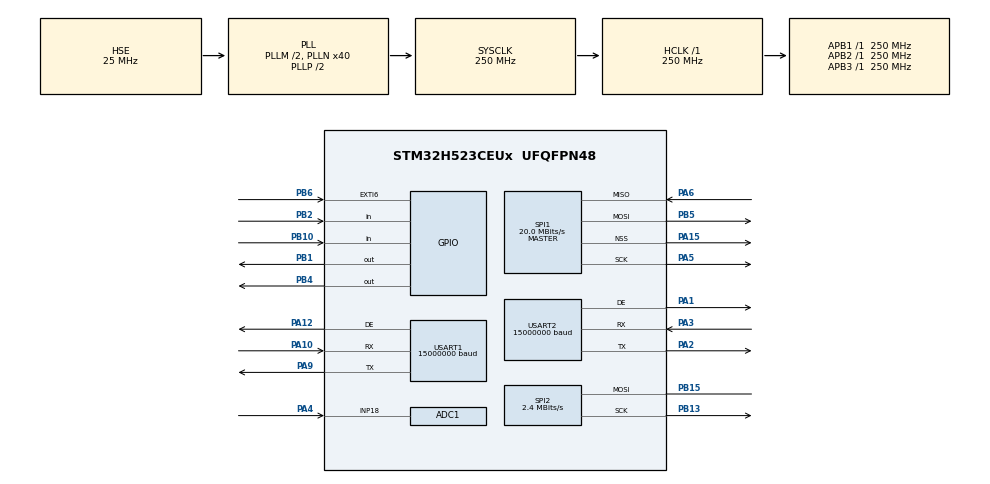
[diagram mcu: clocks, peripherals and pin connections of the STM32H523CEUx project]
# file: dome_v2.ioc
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ADC1.Channel-5\#ChannelRegularConversion=ADC_CHANNEL_18
ADC1.MonitoredBy-5\#ChannelRegularConversion=__NULL
ADC1.NbrOfConversionFlag=1
ADC1.OffsetNumber-5\#ChannelRegularConversion=ADC_OFFSET_NONE
ADC1.Rank-5\#ChannelRegularConversion=1
ADC1.SamplingTime-5\#ChannelRegularConversion=ADC_SAMPLETIME_2CYCLES_5
ADC1.master=1
BOOTPATH.BootPathName=LEGACY
BOOTPATH.UserSelectedBootPath=LEGACY
CORTEX_M33_NS.userName=CORTEX_M33
Mcu.Family=STM32H5
Mcu.Name=STM32H523CEUx
Mcu.Package=UFQFPN48
NVIC.PriorityGroup=NVIC_PRIORITYGROUP_4
PA1.Mode=Hardware Flow Control (RS485)
PA1.Signal=USART2_DE
PA10.Mode=Asynchronous
PA10.Signal=USART1_RX
PA12.Mode=Hardware Flow Control (RS485)
PA12.Signal=USART1_DE
PA13(JTMS/SWDIO).Mode=Trace_Asynchronous_SW
PA13(JTMS/SWDIO).Signal=DEBUG_JTMS-SWDIO
PA14(JTCK/SWCLK).Mode=Trace_Asynchronous_SW
PA14(JTCK/SWCLK).Signal=DEBUG_JTCK-SWCLK
PA15(JTDI).Mode=NSS_Signal_Hard_Output
PA15(JTDI).Signal=SPI1_NSS
PA2.Mode=Asynchronous
PA2.Signal=USART2_TX
PA3.Mode=Asynchronous
PA3.Signal=USART2_RX
PA4.Signal=ADCx_INP18
PA5.Mode=Full_Duplex_Master
PA5.Signal=SPI1_SCK
PA6.Mode=Full_Duplex_Master
PA6.Signal=SPI1_MISO
PA9.Mode=Asynchronous
PA9.Signal=USART1_TX
PB1.Signal=GPIO_Output
PB10.Signal=GPIO_Input
PB13.Mode=Simplex_Bidirectional_Master
PB13.Signal=SPI2_SCK
PB15.Mode=Simplex_Bidirectional_Master
PB15.Signal=SPI2_MOSI
PB2.Signal=GPIO_Input
PB3(JTDO/TRACESWO).Mode=Trace_Asynchronous_SW
PB3(JTDO/TRACESWO).Signal=DEBUG_JTDO-SWO
PB4(NJTRST).Signal=GPIO_Output
PB5.Mode=Full_Duplex_Master
PB5.Signal=SPI1_MOSI
PB6.Signal=GPXTI6
PH0-OSC_IN(PH0).Mode=HSE-External-Clock-Source
PH0-OSC_IN(PH0).Signal=RCC_OSC_IN
ProjectManager.HeapSize=0x200
ProjectManager.StackSize=0x400
ProjectManager.TargetToolchain=STM32CubeIDE
RCC.ADCFreq_Value=250000000
RCC.AHBFreq_Value=250000000
RCC.APB1Freq_Value=250000000
RCC.APB1TimFreq_Value=250000000
RCC.APB2Freq_Value=250000000
RCC.APB2TimFreq_Value=250000000
RCC.APB3Freq_Value=250000000
RCC.CSI_VALUE=4000000
RCC.CortexFreq_Value=250000000
RCC.EPOD_VALUE=25000000
RCC.HCLKFreq_Value=250000000
RCC.HSE_VALUE=25000000
RCC.HSI48_VALUE=48000000
RCC.HSIDiv=RCC_HSI_DIV1
RCC.HSI_VALUE=64000000
RCC.LSE_VALUE=32768
RCC.LSIRC_VALUE=32000
RCC.PLL1Q=3
RCC.PLL2N=40
RCC.PLL2P=4
RCC.PLL2Q=8
RCC.PLL3N=48
RCC.PLL3P=40
RCC.PLLFRACN=0
RCC.PLLM=2
RCC.PLLN=40
RCC.PLLSourceVirtual=RCC_PLL1_SOURCE_HSE
RCC.SPI1CLockSelection=RCC_SPI1CLKSOURCE_PLL2P
RCC.SPI2CLockSelection=RCC_SPI2CLKSOURCE_PLL3P
RCC.SYSCLKFreq_VALUE=250000000
RCC.SYSCLKSource=RCC_SYSCLKSOURCE_PLLCLK
RCC.USBFreq_Value=48000000
RCC.VCOOutputFreq_Value=500000000
SH.ADCx_INP18.0=ADC1_INP18,IN18-Single-Ended
SPI1.CalculateBaudRate=20.0 MBits/s
SPI1.DataSize=SPI_DATASIZE_8BIT
SPI1.Direction=SPI_DIRECTION_2LINES
SPI1.Mode=SPI_MODE_MASTER
SPI1.VirtualNSS=VM_NSSHARD
SPI1.VirtualType=VM_MASTER
SPI2.CalculateBaudRate=2.4 MBits/s
SPI2.DataSize=SPI_DATASIZE_8BIT
SPI2.Direction=SPI_DIRECTION_1LINE
SPI2.Mode=SPI_MODE_MASTER
SPI2.VirtualType=VM_MASTER
USART1.BaudRate=15000000
USART1.OverSampling=UART_OVERSAMPLING_16
USART1.VirtualMode-Asynchronous=VM_ASYNC
USART1.VirtualMode-Hardware\ Flow\ Control\ (RS485)=VM_ASYNC
USART2.BaudRate=15000000
USART2.VirtualMode-Asynchronous=VM_ASYNC
USART2.VirtualMode-Hardware\ Flow\ Control\ (RS485)=VM_ASYNC
VP_BOOTPATH_VS_BOOTPATH.Mode=BP_Activate
VP_CORTEX_M33_NS_VS_Hclk.Mode=Hclk_Mode
VP_MEMORYMAP_VS_MEMORYMAP.Mode=CurAppReg
VP_PWR_VS_LPOM.Mode=PowerOptimisation
VP_PWR_VS_SECSignals.Mode=Security/Privilege
board=custom

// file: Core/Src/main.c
/* USER CODE BEGIN Header */
/**
  ******************************************************************************
  * @file           : main.c
  * @brief          : Main program body
  ******************************************************************************
  * @attention
  *
  * Copyright (c) 2026 STMicroelectronics.
  * All rights reserved.
  *
  * This software is licensed under terms that can be found in the LICENSE file
  * in the root directory of this software component.
  * If no LICENSE file comes with this software, it is provided AS-IS.
  *
  ******************************************************************************
  */
/* USER CODE END Header */
#include "main.h"

/* USER CODE BEGIN Includes */
#include "ws2812b.h"
#include "tmf8829.h"
#include <stdio.h>
/* USER CODE END Includes */

ADC_HandleTypeDef hadc1;

SPI_HandleTypeDef hspi1;
SPI_HandleTypeDef hspi2;

UART_HandleTypeDef huart1;
UART_HandleTypeDef huart2;

/* USER CODE BEGIN PV */
volatile int      g_init_ret;       // TMF8829_Init result
volatile int      g_cfg_ret;        // TMF8829_Configure result
volatile int      g_poll_ret;       // last TMF8829_Poll return
volatile uint32_t g_frame_count;    // frames received
volatile uint32_t g_last_frame_size;
/* USER CODE END PV */

void SystemClock_Config(void);
static void MX_GPIO_Init(void);
static void MX_SPI1_Init(void);
static void MX_USART1_UART_Init(void);
static void MX_USART2_UART_Init(void);
static void MX_ADC1_Init(void);
static void MX_SPI2_Init(void);

int main(void)
{

  /* MCU Configuration--------------------------------------------------------*/

  /* Reset of all peripherals, Initializes the Flash interface and the Systick. */
  HAL_Init();

  /* Configure the system clock */
  SystemClock_Config();

  /* Initialize all configured peripherals */
  MX_GPIO_Init();
  MX_SPI1_Init();
  MX_USART1_UART_Init();
  MX_USART2_UART_Init();
  MX_ADC1_Init();
  MX_SPI2_Init();
  /* USER CODE BEGIN 2 */
  // Enable ITM for SWD output (Window → Show View → SWV ITM Data Console, channel 0)
  CoreDebug->DEMCR |= CoreDebug_DEMCR_TRCENA_Msk;
  ITM->LAR  = 0xC5ACCE55;
  ITM->TCR  = 0x00010005;
  ITM->TER  = 0x01;

  TMF8829_DMA_Init();          // GPDMA1 channels for SPI1 (bulk frame reads)

  g_init_ret = TMF8829_Init();
  if (g_init_ret != 0) Error_Handler();

  g_cfg_ret = TMF8829_Configure_48x32_15fps();
  if (g_cfg_ret != 0) Error_Handler();

  TMF8829_EXTI_Init();         // PB6 INT (falling-edge) drives frame reads
  /* USER CODE END 2 */

  /* Infinite loop */
  /* USER CODE BEGIN WHILE */
  while (1)
  {
    // The TMF8829 INT line is level-active (held low while a result waits).
    // The PB6 falling-edge EXTI gives a prompt wake-up, but if a new frame
    // asserts INT before the line returns high from clearing the previous one
    // the high->low transition never happens and the edge is missed.  So we
    // service whenever the INT level is low OR an edge was latched, and drain
    // every pending frame.  The level check makes a permanent miss impossible.
    tmf8829_loop_iters++;
    if (tmf8829_frame_pending ||
        HAL_GPIO_ReadPin(GPIOB, GPIO_PIN_6) == GPIO_PIN_RESET) {
        tmf8829_frame_pending = 0;
        do {
            g_poll_ret = TMF8829_ReadFrame();
            if (g_poll_ret == 1) g_frame_count++;
        } while (g_poll_ret == 1);
    }
    /* USER CODE END WHILE */

  }
}

void SystemClock_Config(void)
{
  RCC_OscInitTypeDef RCC_OscInitStruct = {0};
  RCC_ClkInitTypeDef RCC_ClkInitStruct = {0};

  /** Configure the main internal regulator output voltage
  */
  __HAL_PWR_VOLTAGESCALING_CONFIG(PWR_REGULATOR_VOLTAGE_SCALE0);

  while(!__HAL_PWR_GET_FLAG(PWR_FLAG_VOSRDY)) {}

  /** Initializes the RCC Oscillators according to the specified parameters
  * in the RCC_OscInitTypeDef structure.
  */
  RCC_OscInitStruct.OscillatorType = RCC_OSCILLATORTYPE_HSE|RCC_OSCILLATORTYPE_CSI;
  RCC_OscInitStruct.HSEState = RCC_HSE_BYPASS;
  RCC_OscInitStruct.CSIState = RCC_CSI_ON;
  RCC_OscInitStruct.CSICalibrationValue = RCC_CSICALIBRATION_DEFAULT;
  RCC_OscInitStruct.PLL.PLLState = RCC_PLL_ON;
  RCC_OscInitStruct.PLL.PLLSource = RCC_PLL1_SOURCE_HSE;
  RCC_OscInitStruct.PLL.PLLM = 2;
  RCC_OscInitStruct.PLL.PLLN = 40;
  RCC_OscInitStruct.PLL.PLLP = 2;
  RCC_OscInitStruct.PLL.PLLQ = 3;
  RCC_OscInitStruct.PLL.PLLR = 2;
  RCC_OscInitStruct.PLL.PLLRGE = RCC_PLL1_VCIRANGE_3;
  RCC_OscInitStruct.PLL.PLLVCOSEL = RCC_PLL1_VCORANGE_WIDE;
  RCC_OscInitStruct.PLL.PLLFRACN = 0;
  if (HAL_RCC_OscConfig(&RCC_OscInitStruct) != HAL_OK)
  {
    Error_Handler();
  }

  /** Initializes the CPU, AHB and APB buses clocks
  */
  RCC_ClkInitStruct.ClockType = RCC_CLOCKTYPE_HCLK|RCC_CLOCKTYPE_SYSCLK
                              |RCC_CLOCKTYPE_PCLK1|RCC_CLOCKTYPE_PCLK2
                              |RCC_CLOCKTYPE_PCLK3;
  RCC_ClkInitStruct.SYSCLKSource = RCC_SYSCLKSOURCE_PLLCLK;
  RCC_ClkInitStruct.AHBCLKDivider = RCC_SYSCLK_DIV1;
  RCC_ClkInitStruct.APB1CLKDivider = RCC_HCLK_DIV1;
  RCC_ClkInitStruct.APB2CLKDivider = RCC_HCLK_DIV1;
  RCC_ClkInitStruct.APB3CLKDivider = RCC_HCLK_DIV1;

  if (HAL_RCC_ClockConfig(&RCC_ClkInitStruct, FLASH_LATENCY_5) != HAL_OK)
  {
    Error_Handler();
  }

  /** Configure the programming delay
  */
  __HAL_FLASH_SET_PROGRAM_DELAY(FLASH_PROGRAMMING_DELAY_2);
}

static void MX_ADC1_Init(void)
{

  ADC_ChannelConfTypeDef sConfig = {0};

  /** Common config
  */
  hadc1.Instance = ADC1;
  hadc1.Init.ClockPrescaler = ADC_CLOCK_ASYNC_DIV4;
  hadc1.Init.Resolution = ADC_RESOLUTION_12B;
  hadc1.Init.DataAlign = ADC_DATAALIGN_RIGHT;
  hadc1.Init.ScanConvMode = ADC_SCAN_DISABLE;
  hadc1.Init.EOCSelection = ADC_EOC_SINGLE_CONV;
  hadc1.Init.LowPowerAutoWait = DISABLE;
  hadc1.Init.ContinuousConvMode = DISABLE;
  hadc1.Init.NbrOfConversion = 1;
  hadc1.Init.DiscontinuousConvMode = DISABLE;
  hadc1.Init.ExternalTrigConv = ADC_SOFTWARE_START;
  hadc1.Init.ExternalTrigConvEdge = ADC_EXTERNALTRIGCONVEDGE_NONE;
  hadc1.Init.DMAContinuousRequests = DISABLE;
  hadc1.Init.SamplingMode = ADC_SAMPLING_MODE_NORMAL;
  hadc1.Init.Overrun = ADC_OVR_DATA_PRESERVED;
  hadc1.Init.OversamplingMode = DISABLE;
  if (HAL_ADC_Init(&hadc1) != HAL_OK)
  {
    Error_Handler();
  }

  /** Configure Regular Channel
  */
  sConfig.Channel = ADC_CHANNEL_18;
  sConfig.Rank = ADC_REGULAR_RANK_1;
  sConfig.SamplingTime = ADC_SAMPLETIME_2CYCLES_5;
  sConfig.SingleDiff = ADC_SINGLE_ENDED;
  sConfig.OffsetNumber = ADC_OFFSET_NONE;
  sConfig.Offset = 0;
  if (HAL_ADC_ConfigChannel(&hadc1, &sConfig) != HAL_OK)
  {
    Error_Handler();
  }

}

static void MX_SPI1_Init(void)
{

  /* SPI1 parameter configuration*/
  hspi1.Instance = SPI1;
  hspi1.Init.Mode = SPI_MODE_MASTER;
  hspi1.Init.Direction = SPI_DIRECTION_2LINES;
  hspi1.Init.DataSize = SPI_DATASIZE_8BIT;
  hspi1.Init.CLKPolarity = SPI_POLARITY_LOW;
  hspi1.Init.CLKPhase = SPI_PHASE_1EDGE;
  hspi1.Init.NSS = SPI_NSS_HARD_OUTPUT;
  hspi1.Init.BaudRatePrescaler = SPI_BAUDRATEPRESCALER_2;
  hspi1.Init.FirstBit = SPI_FIRSTBIT_MSB;
  hspi1.Init.TIMode = SPI_TIMODE_DISABLE;
  hspi1.Init.CRCCalculation = SPI_CRCCALCULATION_DISABLE;
  hspi1.Init.CRCPolynomial = 0x7;
  hspi1.Init.NSSPMode = SPI_NSS_PULSE_ENABLE;
  hspi1.Init.NSSPolarity = SPI_NSS_POLARITY_LOW;
  hspi1.Init.FifoThreshold = SPI_FIFO_THRESHOLD_01DATA;
  hspi1.Init.MasterSSIdleness = SPI_MASTER_SS_IDLENESS_00CYCLE;
  hspi1.Init.MasterInterDataIdleness = SPI_MASTER_INTERDATA_IDLENESS_00CYCLE;
  hspi1.Init.MasterReceiverAutoSusp = SPI_MASTER_RX_AUTOSUSP_DISABLE;
  hspi1.Init.MasterKeepIOState = SPI_MASTER_KEEP_IO_STATE_DISABLE;
  hspi1.Init.IOSwap = SPI_IO_SWAP_DISABLE;
  hspi1.Init.ReadyMasterManagement = SPI_RDY_MASTER_MANAGEMENT_INTERNALLY;
  hspi1.Init.ReadyPolarity = SPI_RDY_POLARITY_HIGH;
  if (HAL_SPI_Init(&hspi1) != HAL_OK)
  {
    Error_Handler();
  }
  /* USER CODE BEGIN SPI1_Init 2 */
  hspi1.Init.NSSPMode = SPI_NSS_PULSE_DISABLE;
  hspi1.Init.MasterKeepIOState = SPI_MASTER_KEEP_IO_STATE_ENABLE;
  if (HAL_SPI_Init(&hspi1) != HAL_OK) Error_Handler();
  /* USER CODE END SPI1_Init 2 */

}

static void MX_SPI2_Init(void)
{

  /* SPI2 parameter configuration*/
  hspi2.Instance = SPI2;
  hspi2.Init.Mode = SPI_MODE_MASTER;
  hspi2.Init.Direction = SPI_DIRECTION_1LINE;
  hspi2.Init.DataSize = SPI_DATASIZE_8BIT;
  hspi2.Init.CLKPolarity = SPI_POLARITY_LOW;
  hspi2.Init.CLKPhase = SPI_PHASE_1EDGE;
  hspi2.Init.NSS = SPI_NSS_SOFT;
  hspi2.Init.BaudRatePrescaler = SPI_BAUDRATEPRESCALER_2;
  hspi2.Init.FirstBit = SPI_FIRSTBIT_MSB;
  hspi2.Init.TIMode = SPI_TIMODE_DISABLE;
  hspi2.Init.CRCCalculation = SPI_CRCCALCULATION_DISABLE;
  hspi2.Init.CRCPolynomial = 0x7;
  hspi2.Init.NSSPMode = SPI_NSS_PULSE_ENABLE;
  hspi2.Init.NSSPolarity = SPI_NSS_POLARITY_LOW;
  hspi2.Init.FifoThreshold = SPI_FIFO_THRESHOLD_01DATA;
  hspi2.Init.MasterSSIdleness = SPI_MASTER_SS_IDLENESS_00CYCLE;
  hspi2.Init.MasterInterDataIdleness = SPI_MASTER_INTERDATA_IDLENESS_00CYCLE;
  hspi2.Init.MasterReceiverAutoSusp = SPI_MASTER_RX_AUTOSUSP_DISABLE;
  hspi2.Init.MasterKeepIOState = SPI_MASTER_KEEP_IO_STATE_DISABLE;
  hspi2.Init.IOSwap = SPI_IO_SWAP_DISABLE;
  hspi2.Init.ReadyMasterManagement = SPI_RDY_MASTER_MANAGEMENT_INTERNALLY;
  hspi2.Init.ReadyPolarity = SPI_RDY_POLARITY_HIGH;
  if (HAL_SPI_Init(&hspi2) != HAL_OK)
  {
    Error_Handler();
  }

}

static void MX_USART1_UART_Init(void)
{

  huart1.Instance = USART1;
  huart1.Init.BaudRate = 15000000;
  huart1.Init.WordLength = UART_WORDLENGTH_8B;
  huart1.Init.StopBits = UART_STOPBITS_1;
  huart1.Init.Parity = UART_PARITY_NONE;
  huart1.Init.Mode = UART_MODE_TX_RX;
  huart1.Init.HwFlowCtl = UART_HWCONTROL_NONE;
  huart1.Init.OverSampling = UART_OVERSAMPLING_16;
  huart1.Init.OneBitSampling = UART_ONE_BIT_SAMPLE_DISABLE;
  huart1.Init.ClockPrescaler = UART_PRESCALER_DIV1;
  huart1.AdvancedInit.AdvFeatureInit = UART_ADVFEATURE_NO_INIT;
  if (HAL_RS485Ex_Init(&huart1, UART_DE_POLARITY_HIGH, 0, 0) != HAL_OK)
  {
    Error_Handler();
  }
  if (HAL_UARTEx_SetTxFifoThreshold(&huart1, UART_TXFIFO_THRESHOLD_1_8) != HAL_OK)
  {
    Error_Handler();
  }
  if (HAL_UARTEx_SetRxFifoThreshold(&huart1, UART_RXFIFO_THRESHOLD_1_8) != HAL_OK)
  {
    Error_Handler();
  }
  if (HAL_UARTEx_DisableFifoMode(&huart1) != HAL_OK)
  {
    Error_Handler();
  }

}

static void MX_USART2_UART_Init(void)
{

  huart2.Instance = USART2;
  huart2.Init.BaudRate = 15000000;
  huart2.Init.WordLength = UART_WORDLENGTH_8B;
  huart2.Init.StopBits = UART_STOPBITS_1;
  huart2.Init.Parity = UART_PARITY_NONE;
  huart2.Init.Mode = UART_MODE_TX_RX;
  huart2.Init.HwFlowCtl = UART_HWCONTROL_NONE;
  huart2.Init.OverSampling = UART_OVERSAMPLING_16;
  huart2.Init.OneBitSampling = UART_ONE_BIT_SAMPLE_DISABLE;
  huart2.Init.ClockPrescaler = UART_PRESCALER_DIV1;
  huart2.AdvancedInit.AdvFeatureInit = UART_ADVFEATURE_NO_INIT;
  if (HAL_RS485Ex_Init(&huart2, UART_DE_POLARITY_HIGH, 0, 0) != HAL_OK)
  {
    Error_Handler();
  }
  if (HAL_UARTEx_SetTxFifoThreshold(&huart2, UART_TXFIFO_THRESHOLD_1_8) != HAL_OK)
  {
    Error_Handler();
  }
  if (HAL_UARTEx_SetRxFifoThreshold(&huart2, UART_RXFIFO_THRESHOLD_1_8) != HAL_OK)
  {
    Error_Handler();
  }
  if (HAL_UARTEx_DisableFifoMode(&huart2) != HAL_OK)
  {
    Error_Handler();
  }

}

static void MX_GPIO_Init(void)
{
  GPIO_InitTypeDef GPIO_InitStruct = {0};

  /* GPIO Ports Clock Enable */
  __HAL_RCC_GPIOH_CLK_ENABLE();
  __HAL_RCC_GPIOA_CLK_ENABLE();
  __HAL_RCC_GPIOB_CLK_ENABLE();

  /*Configure GPIO pin Output Level */
  HAL_GPIO_WritePin(GPIOB, GPIO_PIN_1|GPIO_PIN_4, GPIO_PIN_RESET);

  /*Configure GPIO pins : PB1 PB4 */
  GPIO_InitStruct.Pin = GPIO_PIN_1|GPIO_PIN_4;
  GPIO_InitStruct.Mode = GPIO_MODE_OUTPUT_PP;
  GPIO_InitStruct.Pull = GPIO_NOPULL;
  GPIO_InitStruct.Speed = GPIO_SPEED_FREQ_LOW;
  HAL_GPIO_Init(GPIOB, &GPIO_InitStruct);

  /*Configure GPIO pins : PB2 PB10 */
  GPIO_InitStruct.Pin = GPIO_PIN_2|GPIO_PIN_10;
  GPIO_InitStruct.Mode = GPIO_MODE_INPUT;
  GPIO_InitStruct.Pull = GPIO_NOPULL;
  HAL_GPIO_Init(GPIOB, &GPIO_InitStruct);

  /*Configure GPIO pin : PB6 */
  GPIO_InitStruct.Pin = GPIO_PIN_6;
  GPIO_InitStruct.Mode = GPIO_MODE_IT_RISING;
  GPIO_InitStruct.Pull = GPIO_NOPULL;
  HAL_GPIO_Init(GPIOB, &GPIO_InitStruct);

}

/* USER CODE BEGIN 4 */
int __io_putchar(int ch)
{
    while (ITM->PORT[0].u32 == 0);
    ITM->PORT[0].u8 = (uint8_t)ch;
    return ch;
}
/* USER CODE END 4 */

void Error_Handler(void)
{
  __disable_irq();
  while (1)
  {
  }
}
